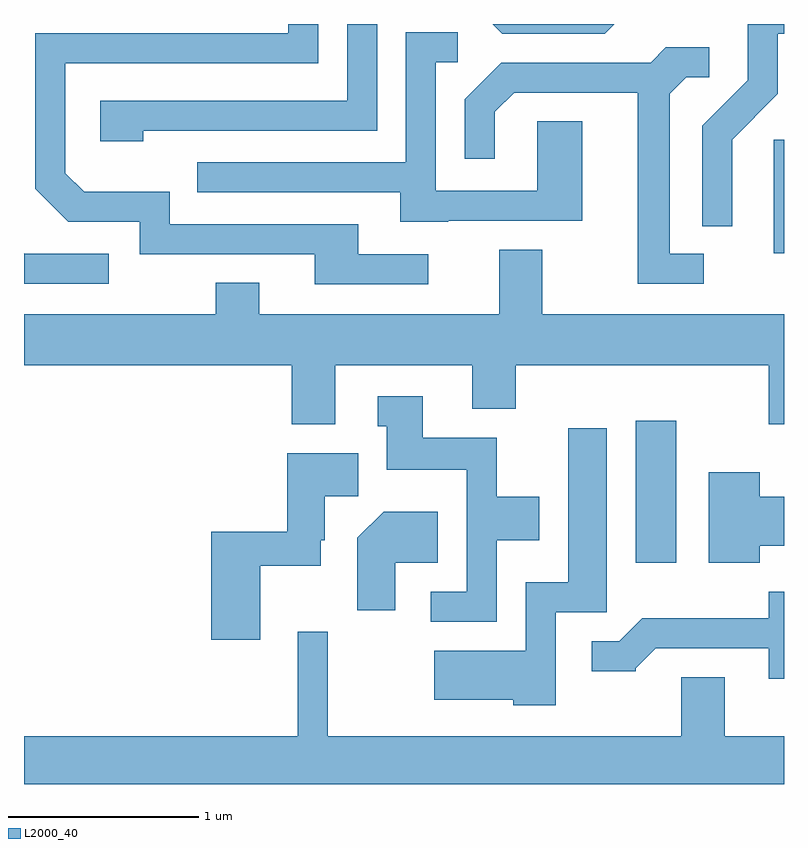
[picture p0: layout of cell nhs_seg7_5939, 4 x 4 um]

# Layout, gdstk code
import gdstk
lib = gdstk.Library(unit=1e-6, precision=1e-09)
def R(c, l, rs):  # rectangles x0, y0, x1, y1
    for r in rs: c.add(gdstk.rectangle(r[:2], r[2:], *l))
def P(c, l, *ps):  # polygons
    for p in ps: c.add(gdstk.Polygon(p, *l))
L2000_40 = (2000, 40)

nhs_seg7_5939 = lib.new_cell('nhs_seg7_5939')
R(nhs_seg7_5939, L2000_40, [(368.831,1795.416,369.044,1796.164), (369.556,1797.046,369.611,1797.644)])
P(nhs_seg7_5939, L2000_40, [(369.339,1797.644),(369.579,1797.884),(369.579,1798.201),(369.611,1798.201),(369.611,1798.252),(369.421,1798.252),(369.421,1797.957),(369.181,1797.717),(369.181,1797.188),(369.339,1797.188)],
  [(368.718,1798.252),(368.078,1798.252),(368.129,1798.201),(368.667,1798.201)],
  [(367.738,1797.039),(367.369,1797.039),(367.369,1797.199),(366.379,1797.199),(366.379,1797.369),(365.927,1797.369),(365.829,1797.467),(365.829,1798.046),(367.159,1798.046),(367.159,1798.252),(367.001,1798.252),(367.001,1798.204),(365.671,1798.204),(365.671,1797.384),(365.844,1797.211),(366.221,1797.211),(366.221,1797.041),(367.141,1797.041),(367.141,1796.881),(367.738,1796.881)],
  [(366.239,1797.691),(367.469,1797.691),(367.469,1798.252),(367.311,1798.252),(367.311,1797.849),(366.011,1797.849),(366.011,1797.636),(366.239,1797.636)],
  [(367.845,1797.216),(368.549,1797.216),(368.549,1797.739),(368.311,1797.739),(368.311,1797.374),(367.779,1797.374),(367.779,1798.051),(367.893,1798.051),(367.893,1798.209),(367.621,1798.209),(367.621,1797.524),(366.523,1797.524),(366.523,1797.366),(367.591,1797.366),(367.591,1797.211),(367.845,1797.211)],
  [(369.188,1797.044),(369.009,1797.044),(369.009,1797.884),(369.097,1797.971),(369.218,1797.971),(369.218,1798.129),(368.989,1798.129),(368.909,1798.049),(368.124,1798.049),(367.931,1797.857),(367.931,1797.543),(368.089,1797.543),(368.089,1797.789),(368.192,1797.891),(368.841,1797.891),(368.841,1796.886),(369.188,1796.886)],
  [(366.849,1796.889),(366.621,1796.889),(366.621,1796.724),(365.611,1796.724),(365.611,1796.456),(367.021,1796.456),(367.021,1796.146),(367.249,1796.146),(367.249,1796.456),(367.971,1796.456),(367.971,1796.226),(368.199,1796.226),(368.199,1796.456),(369.531,1796.456),(369.531,1796.146),(369.611,1796.146),(369.611,1796.724),(368.339,1796.724),(368.339,1797.064),(368.111,1797.064),(368.111,1796.724),(366.849,1796.724)],
  [(366.058,1797.044),(365.612,1797.044),(365.611,1797.045),(365.611,1796.886),(366.058,1796.886)],
  [(368.099,1795.536),(368.324,1795.536),(368.324,1795.764),(368.099,1795.764),(368.099,1796.074),(367.709,1796.074),(367.709,1796.294),(367.473,1796.294),(367.473,1796.136),(367.521,1796.136),(367.521,1795.906),(367.941,1795.906),(367.941,1795.264),(367.753,1795.264),(367.753,1795.106),(368.099,1795.106)],
  [(368.409,1795.156),(368.679,1795.156),(368.679,1796.124),(368.476,1796.124),(368.476,1795.314),(368.251,1795.314),(368.251,1794.954),(367.771,1794.954),(367.771,1794.696),(368.186,1794.696),(368.186,1794.666),(368.409,1794.666)],
  [(366.854,1795.401),(367.174,1795.401),(367.174,1795.536),(367.194,1795.536),(367.194,1795.766),(367.369,1795.766),(367.369,1795.994),(366.996,1795.994),(366.996,1795.579),(366.596,1795.579),(366.596,1795.011),(366.854,1795.011)],
  [(369.484,1795.506),(369.611,1795.506),(369.611,1795.764),(369.484,1795.764),(369.484,1795.894),(369.216,1795.894),(369.216,1795.416),(369.484,1795.416)],
  [(367.564,1795.416),(367.789,1795.416),(367.789,1795.684),(367.504,1795.684),(367.366,1795.547),(367.366,1795.166),(367.564,1795.166)],
  [(369.611,1795.264),(369.531,1795.264),(369.531,1795.124),(368.864,1795.124),(368.744,1795.004),(368.598,1795.004),(368.598,1794.846),(368.83,1794.846),(368.83,1794.86),(368.937,1794.966),(369.531,1794.966),(369.531,1794.806),(369.611,1794.806)],
  [(369.611,1794.504),(369.299,1794.504),(369.299,1794.814),(369.071,1794.814),(369.071,1794.504),(367.209,1794.504),(367.209,1795.053),(367.051,1795.053),(367.051,1794.504),(365.611,1794.504),(365.611,1794.252),(369.611,1794.252)])

lib.write_gds('nhs_seg7_5939.gds')
